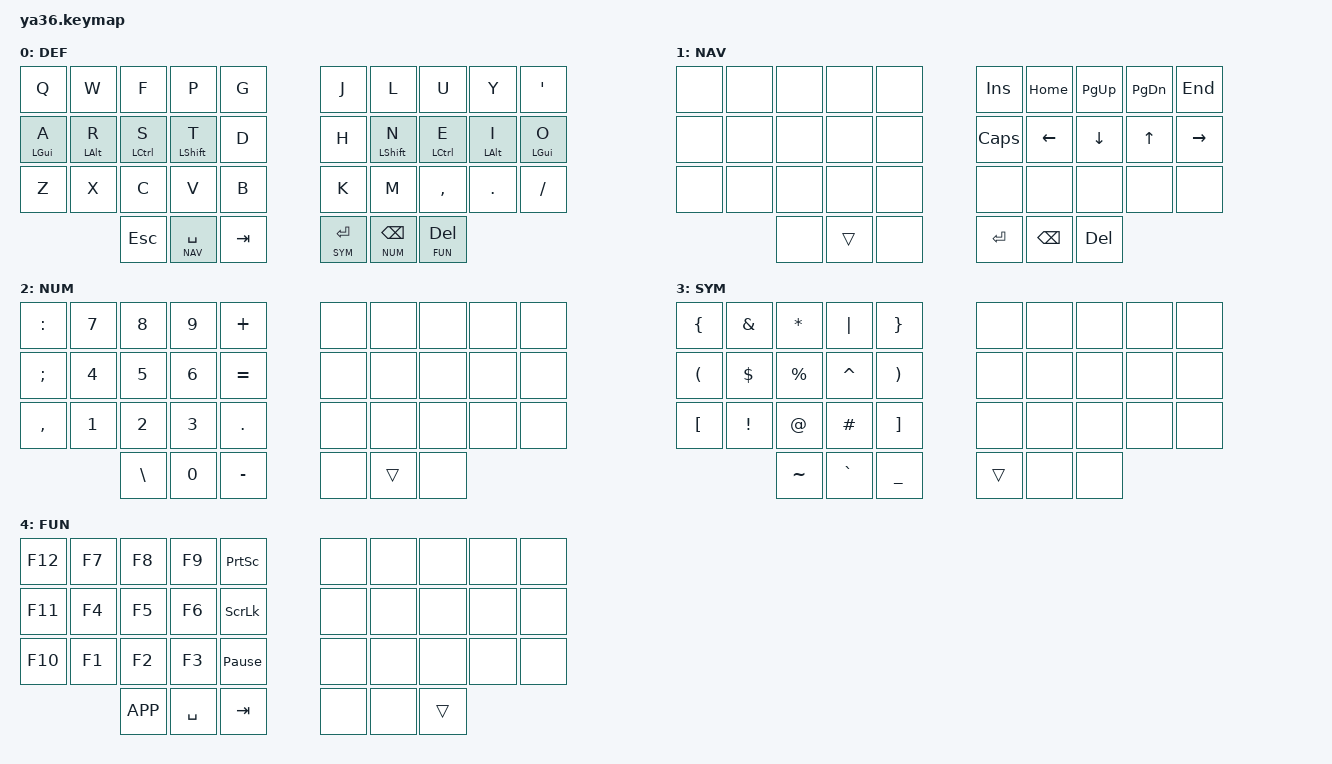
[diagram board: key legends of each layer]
/*
 * Copyright (c) 2020 The ZMK Contributors
 *
 * SPDX-License-Identifier: MIT
 */

#include <behaviors.dtsi>
#include <dt-bindings/zmk/keys.h>
#include <dt-bindings/zmk/bt.h>

#define DEF 0
#define NAV 1
#define NUM 2
#define SYM 3
#define FUN 4

/ {
  behaviors {
    hm: homerow_mods {
      compatible = "zmk,behavior-hold-tap";
      label = "HOMEROW_MODS";
      #binding-cells = <2>;
      tapping_term_ms = <200>;
      flavor = "tap-preferred";
      bindings = <&kp>, <&kp>;
    };
  };

  keymap {
    compatible = "zmk,keymap";

    DEF {
      bindings = <
        &kp Q &kp W &kp F &kp P &kp G  &kp J &kp L &kp U &kp Y &kp SQT
        &hm LGUI A &hm LALT R &hm LCTRL S &hm LSHFT T &kp D  &kp H &hm LSHFT N &hm LCTRL E &hm LALT I &hm LGUI O
        &kp Z &kp X &kp C &kp V &kp B  &kp K &kp M &kp COMMA &kp PERIOD &kp FSLH
        &kp ESC &lt NAV SPACE &kp TAB  &lt SYM ENTER &lt NUM BSPC &lt FUN DEL
      >;
    };

    NAV {
      bindings = <
        &none &none &none &none &none  &kp INS &kp HOME &kp PG_UP &kp PG_DN &kp END
        &none &none &none &none &none  &kp CAPS &kp LEFT &kp DOWN &kp UP &kp RIGHT
        &none &none &none &none &none  &none &none &none &none &none
        &none &trans &none  &kp ENTER &kp BSPC &kp DEL
      >;
    };

    NUM {
      bindings = <
        &kp COLON &kp NUMBER_7 &kp NUMBER_8 &kp NUMBER_9 &kp PLUS  &none &none &none &none &none
        &kp SEMI &kp NUMBER_4 &kp NUMBER_5 &kp NUMBER_6 &kp EQUAL  &none &none &none &none &none
        &kp COMMA &kp NUMBER_1 &kp NUMBER_2 &kp NUMBER_3 &kp PERIOD  &none &none &none &none &none
        &kp BSLH &kp NUMBER_0 &kp MINUS  &none &trans &none
      >;
    };

    SYM {
      bindings = <
        &kp LBRC &kp AMPS &kp ASTRK &kp PIPE &kp RBRC  &none &none &none &none &none
        &kp LPAR &kp DLLR &kp PRCNT &kp CARET &kp RPAR  &none &none &none &none &none
        &kp LBKT &kp EXCL &kp AT &kp HASH &kp RBKT  &none &none &none &none &none
        &kp TILDE &kp GRAVE &kp UNDER  &trans &none &none
      >;
    };

    FUN {
      bindings = <
        &kp F12 &kp F7 &kp F8 &kp F9 &kp PSCRN  &none &none &none &none &none
        &kp F11 &kp F4 &kp F5 &kp F6 &kp SLCK  &none &none &none &none &none
        &kp F10 &kp F1 &kp F2 &kp F3 &kp PAUSE_BREAK  &none &none &none &none &none
        &kp K_APP &kp SPACE &kp TAB  &none &none &trans
      >;
    };
};
